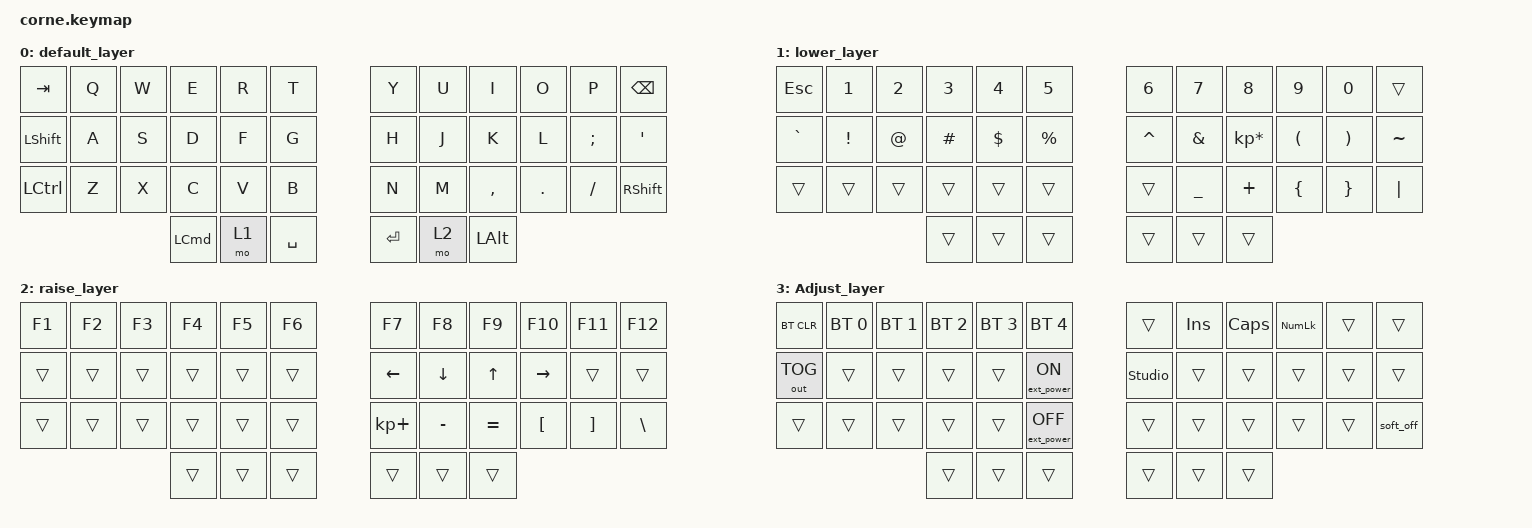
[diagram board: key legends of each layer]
/*
 * Copyright (c) 2020 The ZMK Contributors
 *
 * SPDX-License-Identifier: MIT
 */

#include <behaviors.dtsi>
#include <dt-bindings/zmk/bt.h>
#include <dt-bindings/zmk/ext_power.h>
#include <dt-bindings/zmk/keys.h>
#include <dt-bindings/zmk/outputs.h>

/ {
    keymap {
        compatible = "zmk,keymap";

        default_layer {
            // -----------------------------------------------------------------------------------------
            // |  TAB |  Q  |  W  |  E  |  R  |  T  |   |  Y  |  U   |  I  |  O  |  P  | BSPC |
            // | CTRL |  A  |  S  |  D  |  F  |  G  |   |  H  |  J   |  K  |  L  |  ;  |  '   |
            // | SHFT |  Z  |  X  |  C  |  V  |  B  |   |  N  |  M   |  ,  |  .  |  /  | ESC  |
            //                    | GUI | LWR | SPC |   | ENT | RSE  | ALT |

            bindings = <
&kp TAB         &kp Q  &kp W  &kp E     &kp R  &kp T        &kp Y    &kp U  &kp I         &kp O    &kp P     &kp BACKSPACE
&kp LEFT_SHIFT  &kp A  &kp S  &kp D     &kp F  &kp G        &kp H    &kp J  &kp K         &kp L    &kp SEMI  &kp SQT
&kp LCTRL       &kp Z  &kp X  &kp C     &kp V  &kp B        &kp N    &kp M  &kp COMMA     &kp DOT  &kp FSLH  &kp RIGHT_SHIFT
                              &kp LCMD  &mo 1  &kp SPACE    &kp RET  &mo 2  &kp LEFT_ALT
            >;
        };

        lower_layer {
            // -----------------------------------------------------------------------------------------
            // |  TAB |  1  |  2  |  3  |  4  |  5  |   |  6  |  7  |  8  |  9  |  0  | BSPC |
            // | BTCLR| BT1 | BT2 | BT3 | BT4 | BT5 |   | LFT | DWN |  UP | RGT |     |      |
            // | SHFT |     |     |     |     |     |   |     |     |     |     |     |      |
            //                    | GUI |     | SPC |   | ENT |     | ALT |

            bindings = <
&kp ESC    &kp N1    &kp N2  &kp N3    &kp N4      &kp N5       &kp N6     &kp N7     &kp N8           &kp N9    &kp N0    &trans
&kp GRAVE  &kp EXCL  &kp AT  &kp HASH  &kp DOLLAR  &kp PRCNT    &kp CARET  &kp AMPS   &kp KP_MULTIPLY  &kp LPAR  &kp RPAR  &kp TILDE
&trans     &trans    &trans  &trans    &trans      &trans       &trans     &kp UNDER  &kp PLUS         &kp LBRC  &kp RBRC  &kp PIPE
                             &trans    &trans      &trans       &trans     &trans     &trans
            >;
        };

        raise_layer {
            // -----------------------------------------------------------------------------------------
            // |  TAB |  !  |  @  |  #  |  $  |  %  |   |  ^  |  &  |  *  |  (  |  )  | BSPC |
            // | CTRL |     |     |     |     |     |   |  -  |  =  |  [  |  ]  |  \  |  `   |
            // | SHFT |     |     |     |     |     |   |  _  |  +  |  {  |  }  | "|" |  ~   |
            //                    | GUI |     | SPC |   | ENT |     | ALT |

            bindings = <
&kp F1  &kp F2  &kp F3  &kp F4  &kp F5  &kp F6    &kp F7       &kp F8          &kp F9        &kp F10    &kp F11   &kp F12
&trans  &trans  &trans  &trans  &trans  &trans    &kp LEFT     &kp DOWN_ARROW  &kp UP_ARROW  &kp RIGHT  &trans    &trans
&trans  &trans  &trans  &trans  &trans  &trans    &kp KP_PLUS  &kp MINUS       &kp EQUAL     &kp LBKT   &kp RBKT  &kp BSLH
                        &trans  &trans  &trans    &trans       &trans          &trans
            >;
        };

        Adjust_layer {
            bindings = <
&bt BT_CLR    &bt BT_SEL 0  &bt BT_SEL 1  &bt BT_SEL 2  &bt BT_SEL 3  &bt BT_SEL 4         &trans          &kp INS  &kp CAPSLOCK  &kp KP_NUM  &trans  &trans
&out OUT_TOG  &trans        &trans        &trans        &trans        &ext_power EP_ON     &studio_unlock  &trans   &trans        &trans      &trans  &trans
&trans        &trans        &trans        &trans        &trans        &ext_power EP_OFF    &trans          &trans   &trans        &trans      &trans  &soft_off
                                          &trans        &trans        &trans               &trans          &trans   &trans
            >;
        };
    };

    conditional_layers {
        compatible = "zmk,conditional-layers";

        Adjust {
            if-layers = <1 2>;
            then-layer = <3>;
        };
    };
};
